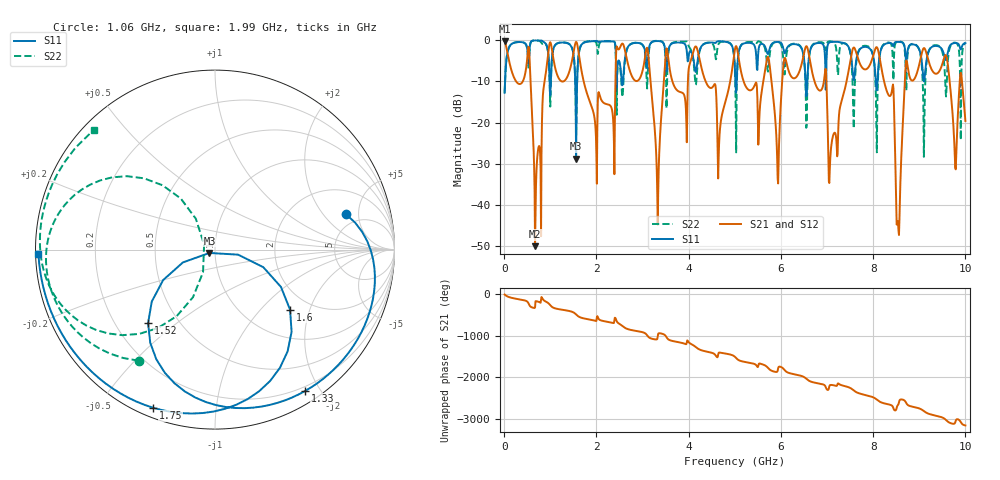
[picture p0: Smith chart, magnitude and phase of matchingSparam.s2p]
!Sparam data from ADS\Study\Convolution\MTT2018\MACOM_FET_AMP_IDEAL_CLASSF
# ghz S ri R 50
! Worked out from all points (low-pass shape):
!   1000 points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, 10 MHz to 10 GHz, reference 50 ohm
!   highest |S21| = -0.24 dB at 10 MHz (marker M1); lowest = -50.1 dB at 670 MHz (marker M2)
!   |S21| within 3 dB of the highest: 2.428 GHz to 2.635 GHz (206.9 MHz wide, 8.17 % of centre); 4.09 GHz to 4.211 GHz (121.5 MHz wide, 2.93 % of centre)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
!   lowest |S11| = -28.8 dB at 1.56 GHz (marker M3), VSWR 1.08, Z = 47 - j1.75 ohm
!   |S11| at or under -10 dB: 1.541 GHz to 1.583 GHz (41.5 MHz wide, 2.66 % of centre); 6.535 GHz to 6.573 GHz (37.73 MHz wide, 0.576 % of centre); 8.058092 GHz to 8.094075 GHz (35.98 MHz wide, 0.446 % of centre)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
!   |S22| runs from -28.3 to 0.0 dB; largest |S21 - S12| = 2.2e-14
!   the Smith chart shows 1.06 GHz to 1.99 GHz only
!   S11 on the Smith chart (normalised r, x): 1.06 GHz: 3.84, +3.53; 1.33 GHz: 0.15, -1.82; 1.52 GHz: 0.34, -0.40; 1.6 GHz: 1.58, -1.49; 1.75 GHz: 0.04, -0.68; 1.99 GHz: 0.01, -0.01
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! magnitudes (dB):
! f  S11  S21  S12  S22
! 10 MHz  -12.7  -0.2  -0.2  -12.7
! 530 MHz  -5.8  -1.5  -1.5  -6.9
! 670 MHz  0.0  -50.1  -50.1  0.0
! 1.06 GHz  -2.4  -4.0  -4.0  -2.5
! 1.33 GHz  -0.6  -9.6  -9.6  -0.5
! 1.52 GHz  -5.1  -2.0  -2.0  -5.0
! 1.56 GHz  -28.8  -0.4  -0.4  -23.5
! 1.6 GHz  -5.4  -1.9  -1.9  -5.3
! 1.68 GHz  -1.0  -7.6  -7.6  -0.9
! 1.75 GHz  -0.5  -11.2  -11.2  -0.4
! 1.99 GHz  -0.1  -23.3  -23.3  -0.5
! 3.09 GHz  -6.4  -1.9  -1.9  -9.9
! 3.34 GHz  -0.2  -37.3  -37.3  -0.1
! 3.53 GHz  -6.9  -2.1  -2.1  -11.6
! 4.67 GHz  -0.2  -23.0  -23.0  -0.6
! 5.01 GHz  -8.4  -1.9  -1.9  -9.9
! 5.93 GHz  -0.4  -33.6  -33.6  -0.4
! 6.67 GHz  -1.5  -7.3  -7.3  -1.4
! 8.34 GHz  -0.6  -13.4  -13.4  -0.5
! 8.54 GHz  -0.4  -44.5  -44.5  -0.3
! 8.74 GHz  -3.1  -5.8  -5.8  -4.4
! 10 GHz  -0.7  -19.6  -19.6  -0.6
